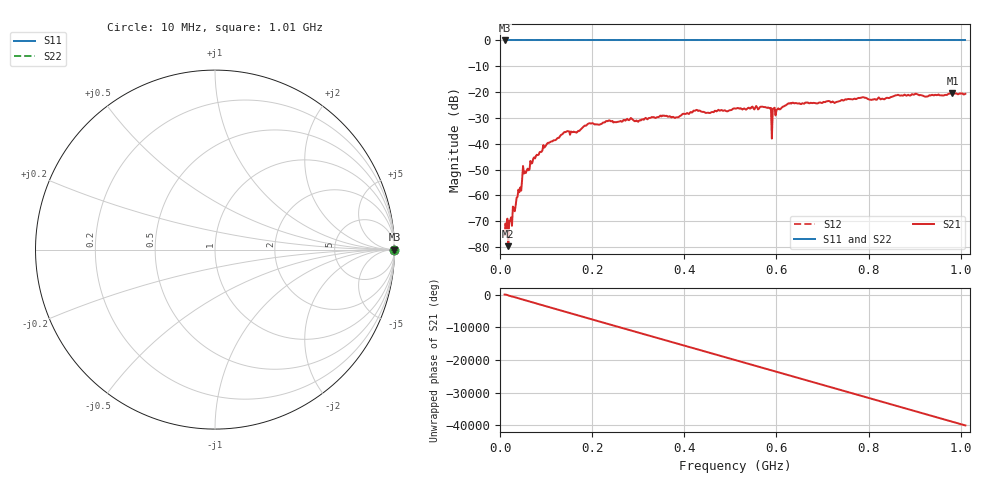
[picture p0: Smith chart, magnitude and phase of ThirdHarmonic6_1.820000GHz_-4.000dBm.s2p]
! 8/16/2025 10:03:11 PM
! C:\ANRITSUVNA\TEMP\TEMP.S2P
! CHANNEL.1
! TR.MEASUREMENT
! RAW.DATA
! RF.CORRECTION.OFF
! AVERAGING.OFF
! IF.BANDWIDTH: 5KHZ
! SWEEPTYPE:  FREQ.SWEEP(Linear)
! Reference Plane Port Info
! PORT:  PORT1  PORT2
! DISTANCE:  0  m  0  m
! TIME:  0  s  0  s
! PHASE.OFFSET:  0  deg.  0  deg.
! LOSS:  0  dB  0  dB
! REF.LOSS:  0  dB  0  dB
! REF.FREQ:  0  Hz  0  Hz
! Power Info
! POWER:  -20  dBm  -20  dBm
! EFF.POWER:  -20  dBm  -20  dBm
! SOURCE.ATTEN:  0  dB  0  dB
! TEST.ATTEN:  0  dB  0  dB
# GHZ S RI R 50.0
! FREQ.GHZ  S11RE  S11IM  S21RE  S21IM  S12RE  S12IM  S22RE  S22IM
!; PortSelection: Port_12
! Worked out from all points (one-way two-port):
!   501 points, 10 MHz to 1.01 GHz, reference 50 ohm
!   highest |S21| = -20.36 dB at 982 MHz (marker M1); lowest = -79.7 dB at 18 MHz (marker M2)
!   lowest |S11| = 0.0 dB at 10 MHz (marker M3)
!   |S11| at or under -10 dB: nowhere
!   |S22| runs from 0.0 to 0.0 dB; largest |S21 - S12| = 1.1
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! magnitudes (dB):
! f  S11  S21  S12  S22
! 10 MHz  0.0  -75.4  0.0  0.0
! 18 MHz  0.0  -79.7  0.0  0.0
! 22 MHz  0.0  -69.8  0.0  0.0
! 24 MHz  0.0  -68.5  0.0  0.0
! 52 MHz  0.0  -51.5  0.0  0.0
! 70 MHz  0.0  -47.5  0.0  0.0
! 106 MHz  0.0  -39.6  0.0  0.0
! 142 MHz  0.0  -35.5  0.0  0.0
! 178 MHz  0.0  -34.0  0.0  0.0
! 196 MHz  0.0  -32.1  0.0  0.0
! 344 MHz  0.0  -29.7  0.0  0.0
! 510 MHz  0.0  -26.4  0.0  0.0
! 580 MHz  0.0  -26.1  0.0  0.0
! 584 MHz  0.0  -26.1  0.0  0.0
! 586 MHz  0.0  -26.4  0.0  0.0
! 594 MHz  0.0  -26.3  0.0  0.0
! 596 MHz  0.0  -26.1  0.0  0.0
! 626 MHz  0.0  -24.3  0.0  0.0
! 678 MHz  0.0  -24.3  0.0  0.0
! 844 MHz  0.0  -22.3  0.0  0.0
! 982 MHz  0.0  -20.4  0.0  0.0
! 1.01 GHz  0.0  -20.6  0.0  0.0
